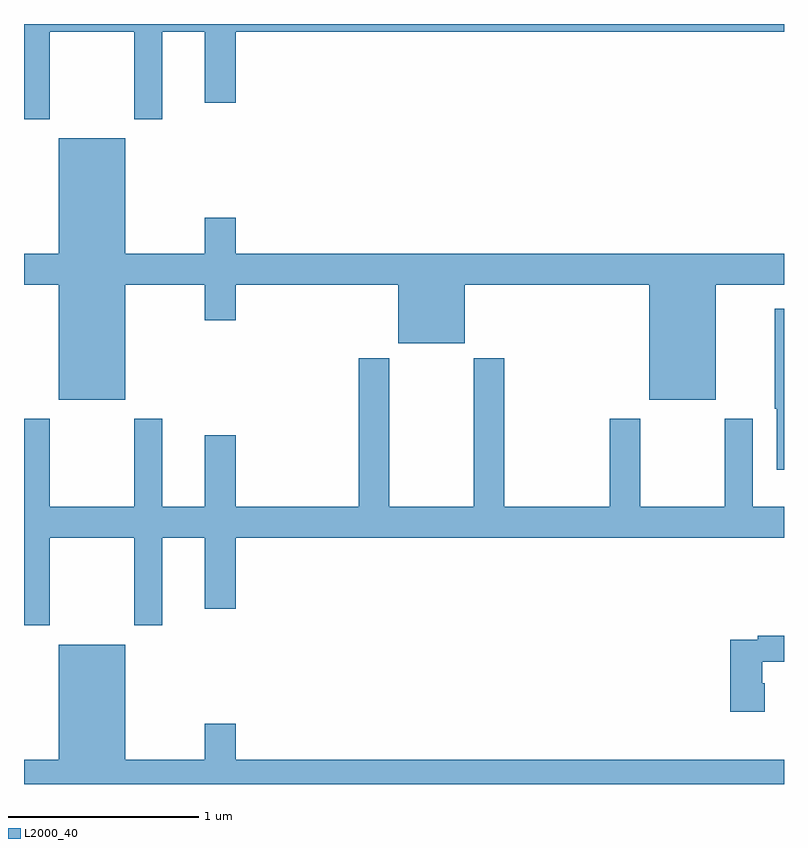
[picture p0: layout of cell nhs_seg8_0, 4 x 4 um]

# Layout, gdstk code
import gdstk
lib = gdstk.Library(unit=1e-6, precision=1e-09)
def P(c, l, *ps):  # polygons
    for p in ps: c.add(gdstk.Polygon(p, *l))
L2000_40 = (2000, 40)

nhs_seg8_0 = lib.new_cell('nhs_seg8_0')
P(nhs_seg8_0, L2000_40, [(111.135,1089.86),(111.58,1089.86),(111.58,1089.399),(111.727,1089.399),(111.727,1089.86),(111.95,1089.86),(111.95,1089.486),(112.114,1089.486),(112.114,1089.86),(115,1089.86),(115,1089.9),(111,1089.9),(111,1089.399),(111.135,1089.399)],
  [(111.532,1088.528),(111.95,1088.528),(111.95,1088.34),(112.114,1088.34),(112.114,1088.528),(112.97,1088.528),(112.97,1088.219),(113.32,1088.219),(113.32,1088.528),(114.29,1088.528),(114.29,1087.922),(114.64,1087.922),(114.64,1088.528),(115,1088.528),(115,1088.692),(112.114,1088.692),(112.114,1088.881),(111.95,1088.881),(111.95,1088.692),(111.532,1088.692),(111.532,1089.298),(111.182,1089.298),(111.182,1088.692),(111,1088.692),(111,1088.528),(111.182,1088.528),(111.182,1087.922),(111.532,1087.922)],
  [(115,1088.401),(114.951,1088.401),(114.951,1087.876),(114.963,1087.876),(114.963,1087.554),(115,1087.554)],
  [(111.135,1087.196),(111.58,1087.196),(111.58,1086.735),(111.727,1086.735),(111.727,1087.196),(111.95,1087.196),(111.95,1086.822),(112.114,1086.822),(112.114,1087.196),(115,1087.196),(115,1087.36),(114.835,1087.36),(114.835,1087.822),(114.688,1087.822),(114.688,1087.36),(114.243,1087.36),(114.243,1087.822),(114.083,1087.822),(114.083,1087.36),(113.528,1087.36),(113.528,1088.14),(113.368,1088.14),(113.368,1087.36),(112.923,1087.36),(112.923,1088.14),(112.763,1088.14),(112.763,1087.36),(112.114,1087.36),(112.114,1087.735),(111.95,1087.735),(111.95,1087.36),(111.727,1087.36),(111.727,1087.822),(111.58,1087.822),(111.58,1087.36),(111.135,1087.36),(111.135,1087.822),(111,1087.822),(111,1086.735),(111.135,1086.735)],
  [(114.899,1086.429),(114.886,1086.429),(114.886,1086.544),(115,1086.544),(115,1086.68),(114.862,1086.68),(114.862,1086.66),(114.716,1086.66),(114.716,1086.279),(114.899,1086.279)],
  [(115,1086.028),(112.114,1086.028),(112.114,1086.217),(111.95,1086.217),(111.95,1086.028),(111.532,1086.028),(111.532,1086.634),(111.182,1086.634),(111.182,1086.028),(111,1086.028),(111,1085.9),(115,1085.9)])

lib.write_gds('nhs_seg8_0.gds')
